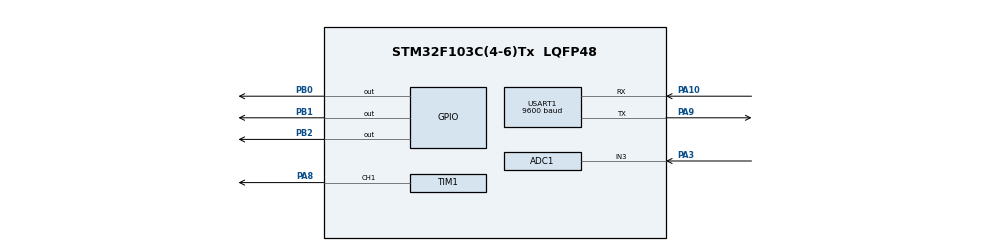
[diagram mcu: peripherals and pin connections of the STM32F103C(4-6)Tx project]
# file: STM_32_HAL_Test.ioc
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ADC1.Channel-2\#ChannelRegularConversion=ADC_CHANNEL_3
ADC1.ContinuousConvMode=ENABLE
ADC1.NbrOfConversionFlag=1
ADC1.Rank-2\#ChannelRegularConversion=1
ADC1.SamplingTime-2\#ChannelRegularConversion=ADC_SAMPLETIME_1CYCLE_5
ADC1.master=1
Mcu.Family=STM32F1
Mcu.Name=STM32F103C(4-6)Tx
Mcu.Package=LQFP48
NVIC.PriorityGroup=NVIC_PRIORITYGROUP_4
PA10.Mode=Asynchronous
PA10.Signal=USART1_RX
PA3.Signal=ADCx_IN3
PA8.Signal=S_TIM1_CH1
PA9.Mode=Asynchronous
PA9.Signal=USART1_TX
PB0.Signal=GPIO_Output
PB1.Signal=GPIO_Output
PB2.Signal=GPIO_Output
ProjectManager.HeapSize=0x200
ProjectManager.StackSize=0x400
ProjectManager.TargetToolchain=STM32CubeIDE
RCC.APB1Freq_Value=8000000
RCC.APB2Freq_Value=8000000
SH.ADCx_IN3.0=ADC1_IN3,IN3
SH.S_TIM1_CH1.0=TIM1_CH1,PWM Generation1 CH1
TIM1.Channel-PWM\ Generation1\ CH1=TIM_CHANNEL_1
TIM1.Period=255
USART1.BaudRate=9600
USART1.VirtualMode=VM_ASYNC
VP_SYS_VS_ND.Mode=No_Debug
board=custom

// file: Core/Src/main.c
/* USER CODE BEGIN Header */
/**
  ******************************************************************************
  * @file           : main.c
  * @brief          : Main program body
  ******************************************************************************
  * @attention
  *
  * Copyright (c) 2024 STMicroelectronics.
  * All rights reserved.
  *
  * This software is licensed under terms that can be found in the LICENSE file
  * in the root directory of this software component.
  * If no LICENSE file comes with this software, it is provided AS-IS.
  *
  ******************************************************************************
  */
/* USER CODE END Header */
#include "main.h"

/* USER CODE BEGIN Includes */
#include<stdbool.h>
#include<stdio.h>
#include<string.h>

/* USER CODE END Includes */

ADC_HandleTypeDef hadc1;

TIM_HandleTypeDef htim1;

UART_HandleTypeDef huart1;

void SystemClock_Config(void);
static void MX_GPIO_Init(void);
static void MX_ADC1_Init(void);
static void MX_USART1_UART_Init(void);
static void MX_TIM1_Init(void);

int main(void)
{

  /* USER CODE BEGIN 1 */
  int count =0;
  uint16_t read_a_value = 0;
  char msg[50];
  /* USER CODE END 1 */

  /* MCU Configuration--------------------------------------------------------*/

  /* Reset of all peripherals, Initializes the Flash interface and the Systick. */
  HAL_Init();

  /* Configure the system clock */
  SystemClock_Config();

  /* Initialize all configured peripherals */
  MX_GPIO_Init();
  MX_ADC1_Init();
  MX_USART1_UART_Init();
  MX_TIM1_Init();
  /* USER CODE BEGIN 2 */
  HAL_ADC_Start(&hadc1);
  HAL_TIM_PWM_Start(&htim1, TIM_CHANNEL_1);

  int PWM=10;
  int temp_compare_value=255-PWM;
  __HAL_TIM_SET_COMPARE(&htim1, TIM_CHANNEL_1,temp_compare_value);
  /* USER CODE END 2 */

  /* Infinite loop */
  /* USER CODE BEGIN WHILE */
  while (1)
  {
	//	  HAL_GPIO_WritePin(GPIOB, GPIO_PIN_0, GPIO_PIN_SET);
	//	  HAL_Delay(500);
	//	  HAL_GPIO_WritePin(GPIOB,GPIO_PIN_0,GPIO_PIN_RESET);

      bool input_up,input_down;
      input_up=HAL_GPIO_ReadPin(GPIOB, GPIO_PIN_3);
      input_down=HAL_GPIO_ReadPin(GPIOB, GPIO_PIN_4);

      if(input_up==true)
      {
    	  count++;
      }
      if (input_down==true)
      {
    	  count--;
      }

      if(count==0)
      {
    	  HAL_GPIO_WritePin(GPIOB, GPIO_PIN_0, GPIO_PIN_SET);
    	  HAL_GPIO_WritePin(GPIOB, GPIO_PIN_1, GPIO_PIN_SET);
    	  HAL_GPIO_WritePin(GPIOB, GPIO_PIN_2, GPIO_PIN_SET);
      }
      else if(count>0)
      {
    	  HAL_GPIO_WritePin(GPIOB, GPIO_PIN_0, GPIO_PIN_SET);
    	  HAL_GPIO_WritePin(GPIOB, GPIO_PIN_1, GPIO_PIN_RESET);
    	  HAL_GPIO_WritePin(GPIOB, GPIO_PIN_2, GPIO_PIN_RESET);
      }
      else if(count<0)
      {
    	  HAL_GPIO_WritePin(GPIOB, GPIO_PIN_0, GPIO_PIN_RESET);
    	  HAL_GPIO_WritePin(GPIOB, GPIO_PIN_1, GPIO_PIN_RESET);
    	  HAL_GPIO_WritePin(GPIOB, GPIO_PIN_2, GPIO_PIN_SET);
      }

      HAL_Delay(150);

      HAL_ADC_PollForConversion(&hadc1, 10); //10 is for ADC wait time
      read_a_value = HAL_ADC_GetValue(&hadc1);
      sprintf(msg,"The ADC Value is: %d \r\n",read_a_value);
      HAL_UART_Transmit(&huart1, (uint8_t *)msg, strlen(msg), 100);  // Transmit data

      HAL_Delay(100);
    /* USER CODE END WHILE */

  }
}

void SystemClock_Config(void)
{
  RCC_OscInitTypeDef RCC_OscInitStruct = {0};
  RCC_ClkInitTypeDef RCC_ClkInitStruct = {0};
  RCC_PeriphCLKInitTypeDef PeriphClkInit = {0};

  /** Initializes the RCC Oscillators according to the specified parameters
  * in the RCC_OscInitTypeDef structure.
  */
  RCC_OscInitStruct.OscillatorType = RCC_OSCILLATORTYPE_HSI;
  RCC_OscInitStruct.HSIState = RCC_HSI_ON;
  RCC_OscInitStruct.HSICalibrationValue = RCC_HSICALIBRATION_DEFAULT;
  RCC_OscInitStruct.PLL.PLLState = RCC_PLL_NONE;
  if (HAL_RCC_OscConfig(&RCC_OscInitStruct) != HAL_OK)
  {
    Error_Handler();
  }

  /** Initializes the CPU, AHB and APB buses clocks
  */
  RCC_ClkInitStruct.ClockType = RCC_CLOCKTYPE_HCLK|RCC_CLOCKTYPE_SYSCLK
                              |RCC_CLOCKTYPE_PCLK1|RCC_CLOCKTYPE_PCLK2;
  RCC_ClkInitStruct.SYSCLKSource = RCC_SYSCLKSOURCE_HSI;
  RCC_ClkInitStruct.AHBCLKDivider = RCC_SYSCLK_DIV1;
  RCC_ClkInitStruct.APB1CLKDivider = RCC_HCLK_DIV1;
  RCC_ClkInitStruct.APB2CLKDivider = RCC_HCLK_DIV1;

  if (HAL_RCC_ClockConfig(&RCC_ClkInitStruct, FLASH_LATENCY_0) != HAL_OK)
  {
    Error_Handler();
  }
  PeriphClkInit.PeriphClockSelection = RCC_PERIPHCLK_ADC;
  PeriphClkInit.AdcClockSelection = RCC_ADCPCLK2_DIV2;
  if (HAL_RCCEx_PeriphCLKConfig(&PeriphClkInit) != HAL_OK)
  {
    Error_Handler();
  }
}

static void MX_ADC1_Init(void)
{

  ADC_ChannelConfTypeDef sConfig = {0};

  /** Common config
  */
  hadc1.Instance = ADC1;
  hadc1.Init.ScanConvMode = ADC_SCAN_DISABLE;
  hadc1.Init.ContinuousConvMode = ENABLE;
  hadc1.Init.DiscontinuousConvMode = DISABLE;
  hadc1.Init.ExternalTrigConv = ADC_SOFTWARE_START;
  hadc1.Init.DataAlign = ADC_DATAALIGN_RIGHT;
  hadc1.Init.NbrOfConversion = 1;
  if (HAL_ADC_Init(&hadc1) != HAL_OK)
  {
    Error_Handler();
  }

  /** Configure Regular Channel
  */
  sConfig.Channel = ADC_CHANNEL_3;
  sConfig.Rank = ADC_REGULAR_RANK_1;
  sConfig.SamplingTime = ADC_SAMPLETIME_1CYCLE_5;
  if (HAL_ADC_ConfigChannel(&hadc1, &sConfig) != HAL_OK)
  {
    Error_Handler();
  }

}

static void MX_TIM1_Init(void)
{

  TIM_MasterConfigTypeDef sMasterConfig = {0};
  TIM_OC_InitTypeDef sConfigOC = {0};
  TIM_BreakDeadTimeConfigTypeDef sBreakDeadTimeConfig = {0};

  htim1.Instance = TIM1;
  htim1.Init.Prescaler = 0;
  htim1.Init.CounterMode = TIM_COUNTERMODE_UP;
  htim1.Init.Period = 255;
  htim1.Init.ClockDivision = TIM_CLOCKDIVISION_DIV1;
  htim1.Init.RepetitionCounter = 0;
  htim1.Init.AutoReloadPreload = TIM_AUTORELOAD_PRELOAD_DISABLE;
  if (HAL_TIM_PWM_Init(&htim1) != HAL_OK)
  {
    Error_Handler();
  }
  sMasterConfig.MasterOutputTrigger = TIM_TRGO_RESET;
  sMasterConfig.MasterSlaveMode = TIM_MASTERSLAVEMODE_DISABLE;
  if (HAL_TIMEx_MasterConfigSynchronization(&htim1, &sMasterConfig) != HAL_OK)
  {
    Error_Handler();
  }
  sConfigOC.OCMode = TIM_OCMODE_PWM1;
  sConfigOC.Pulse = 0;
  sConfigOC.OCPolarity = TIM_OCPOLARITY_HIGH;
  sConfigOC.OCNPolarity = TIM_OCNPOLARITY_HIGH;
  sConfigOC.OCFastMode = TIM_OCFAST_DISABLE;
  sConfigOC.OCIdleState = TIM_OCIDLESTATE_RESET;
  sConfigOC.OCNIdleState = TIM_OCNIDLESTATE_RESET;
  if (HAL_TIM_PWM_ConfigChannel(&htim1, &sConfigOC, TIM_CHANNEL_1) != HAL_OK)
  {
    Error_Handler();
  }
  sBreakDeadTimeConfig.OffStateRunMode = TIM_OSSR_DISABLE;
  sBreakDeadTimeConfig.OffStateIDLEMode = TIM_OSSI_DISABLE;
  sBreakDeadTimeConfig.LockLevel = TIM_LOCKLEVEL_OFF;
  sBreakDeadTimeConfig.DeadTime = 0;
  sBreakDeadTimeConfig.BreakState = TIM_BREAK_DISABLE;
  sBreakDeadTimeConfig.BreakPolarity = TIM_BREAKPOLARITY_HIGH;
  sBreakDeadTimeConfig.AutomaticOutput = TIM_AUTOMATICOUTPUT_DISABLE;
  if (HAL_TIMEx_ConfigBreakDeadTime(&htim1, &sBreakDeadTimeConfig) != HAL_OK)
  {
    Error_Handler();
  }
  HAL_TIM_MspPostInit(&htim1);

}

static void MX_USART1_UART_Init(void)
{

  huart1.Instance = USART1;
  huart1.Init.BaudRate = 9600;
  huart1.Init.WordLength = UART_WORDLENGTH_8B;
  huart1.Init.StopBits = UART_STOPBITS_1;
  huart1.Init.Parity = UART_PARITY_NONE;
  huart1.Init.Mode = UART_MODE_TX_RX;
  huart1.Init.HwFlowCtl = UART_HWCONTROL_NONE;
  huart1.Init.OverSampling = UART_OVERSAMPLING_16;
  if (HAL_UART_Init(&huart1) != HAL_OK)
  {
    Error_Handler();
  }

}

static void MX_GPIO_Init(void)
{
  GPIO_InitTypeDef GPIO_InitStruct = {0};

  /* GPIO Ports Clock Enable */
  __HAL_RCC_GPIOA_CLK_ENABLE();
  __HAL_RCC_GPIOB_CLK_ENABLE();

  /*Configure GPIO pin Output Level */
  HAL_GPIO_WritePin(GPIOB, GPIO_PIN_0|GPIO_PIN_1|GPIO_PIN_2, GPIO_PIN_RESET);

  /*Configure GPIO pins : PB0 PB1 PB2 */
  GPIO_InitStruct.Pin = GPIO_PIN_0|GPIO_PIN_1|GPIO_PIN_2;
  GPIO_InitStruct.Mode = GPIO_MODE_OUTPUT_PP;
  GPIO_InitStruct.Pull = GPIO_NOPULL;
  GPIO_InitStruct.Speed = GPIO_SPEED_FREQ_LOW;
  HAL_GPIO_Init(GPIOB, &GPIO_InitStruct);

}

void Error_Handler(void)
{
  __disable_irq();
  while (1)
  {
  }
}
